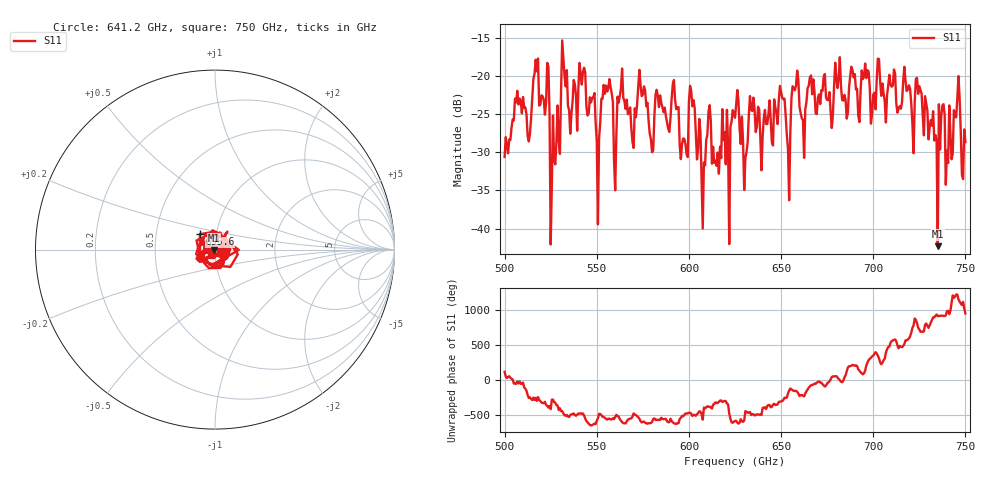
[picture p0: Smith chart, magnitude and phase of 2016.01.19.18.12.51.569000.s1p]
!Created with skrf (http://scikit-rf.org).
# GHz S RI R 50.0
!freq ReS11 ImS11
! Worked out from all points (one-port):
!   401 points, 500 GHz to 750 GHz, reference 50 ohm
!   lowest |S11| = -42.3 dB at 735 GHz (marker M1), VSWR 1.02, Z = 49.3 - j0.166 ohm
!   |S11| at or under -10 dB: start of sweep to end of sweep
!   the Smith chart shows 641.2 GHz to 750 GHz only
!   S11 on the Smith chart (normalised r, x): 641.2 GHz: 1.11, -0.06; 695.6 GHz: 0.83, +0.15; 750 GHz: 0.95, -0.06
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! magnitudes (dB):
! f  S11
! 500 GHz  -30.6
! 513.1 GHz  -28.6
! 516.9 GHz  -17.9
! 523.1 GHz  -18.3
! 526.2 GHz  -25.2
! 531.2 GHz  -15.4
! 542.5 GHz  -19.4
! 550.6 GHz  -39.4
! 553.8 GHz  -21.2
! 560.6 GHz  -27.8
! 562.5 GHz  -22.6
! 593.8 GHz  -24.1
! 601.9 GHz  -24.0
! 608.1 GHz  -31.3
! 610.6 GHz  -24.7
! 620.6 GHz  -24.5
! 625 GHz  -25.5
! 630.6 GHz  -30.8
! 641.2 GHz  -24.5
! 650.6 GHz  -22.9
! 653.8 GHz  -29.6
! 656.2 GHz  -21.4
! 687.5 GHz  -20.0
! 695.6 GHz  -18.4
! 718.8 GHz  -21.8
! 735 GHz  -42.3
! 745.6 GHz  -22.9
! 750 GHz  -28.7
